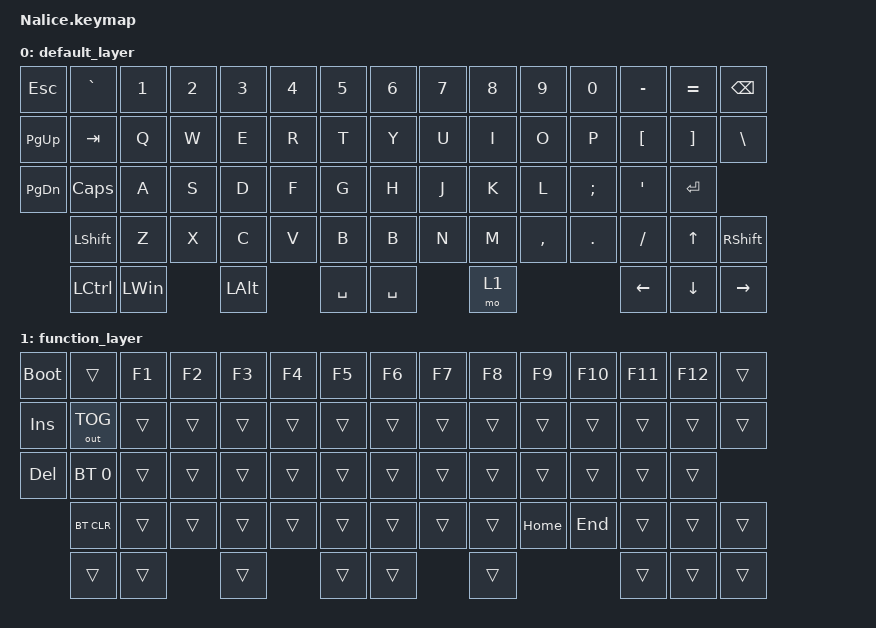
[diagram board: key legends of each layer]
/*
 * Copyright (c) 2021 The ZMK Contributors
 *
 * SPDX-License-Identifier: MIT
 */

#include <behaviors.dtsi>
#include <dt-bindings/zmk/bt.h>
#include <dt-bindings/zmk/keys.h>
#include <dt-bindings/zmk/outputs.h>

/ {
    keymap {
        compatible = "zmk,keymap";

        default_layer {
            bindings = <
&kp ESC        &kp GRAVE  &kp N1       &kp N2        &kp N3        &kp N4  &kp N5     &kp N6  &kp N7     &kp N8  &kp N9     &kp N0     &kp MINUS  &kp EQUAL     &kp BSPC
&kp PG_UP      &kp TAB    &kp Q        &kp W         &kp E         &kp R   &kp T      &kp Y   &kp U      &kp I   &kp O      &kp P      &kp LBKT   &kp RBKT      &kp BSLH
&kp PAGE_DOWN  &kp CAPS   &kp A        &kp S         &kp D         &kp F   &kp G      &kp H   &kp J      &kp K   &kp L      &kp SEMI   &kp SQT    &kp ENTER
               &kp LSHFT  &kp Z        &kp X         &kp C         &kp V   &kp B      &kp B   &kp N      &kp M   &kp COMMA  &kp DOT    &kp SLASH  &kp UP_ARROW  &kp RIGHT_SHIFT
               &kp LCTRL  &kp LEFT_WIN               &kp LEFT_ALT          &kp SPACE  &kp SPACE          &mo 1                         &kp LEFT   &kp DOWN      &kp RIGHT
            >;
        };

        function_layer {
            bindings = <
&bootloader  &trans        &kp F1  &kp F2  &kp F3  &kp F4  &kp F5  &kp F6  &kp F7  &kp F8  &kp F9    &kp F10  &kp F11  &kp F12  &trans
&kp INS      &out OUT_TOG  &trans  &trans  &trans  &trans  &trans  &trans  &trans  &trans  &trans    &trans   &trans   &trans   &trans
&kp DELETE   &bt BT_SEL 0  &trans  &trans  &trans  &trans  &trans  &trans  &trans  &trans  &trans    &trans   &trans   &trans
             &bt BT_CLR    &trans  &trans  &trans  &trans  &trans  &trans  &trans  &trans  &kp HOME  &kp END  &trans   &trans   &trans
             &trans                &trans  &trans          &trans          &trans                    &trans   &trans   &trans   &trans
            >;
        };
    };
};
